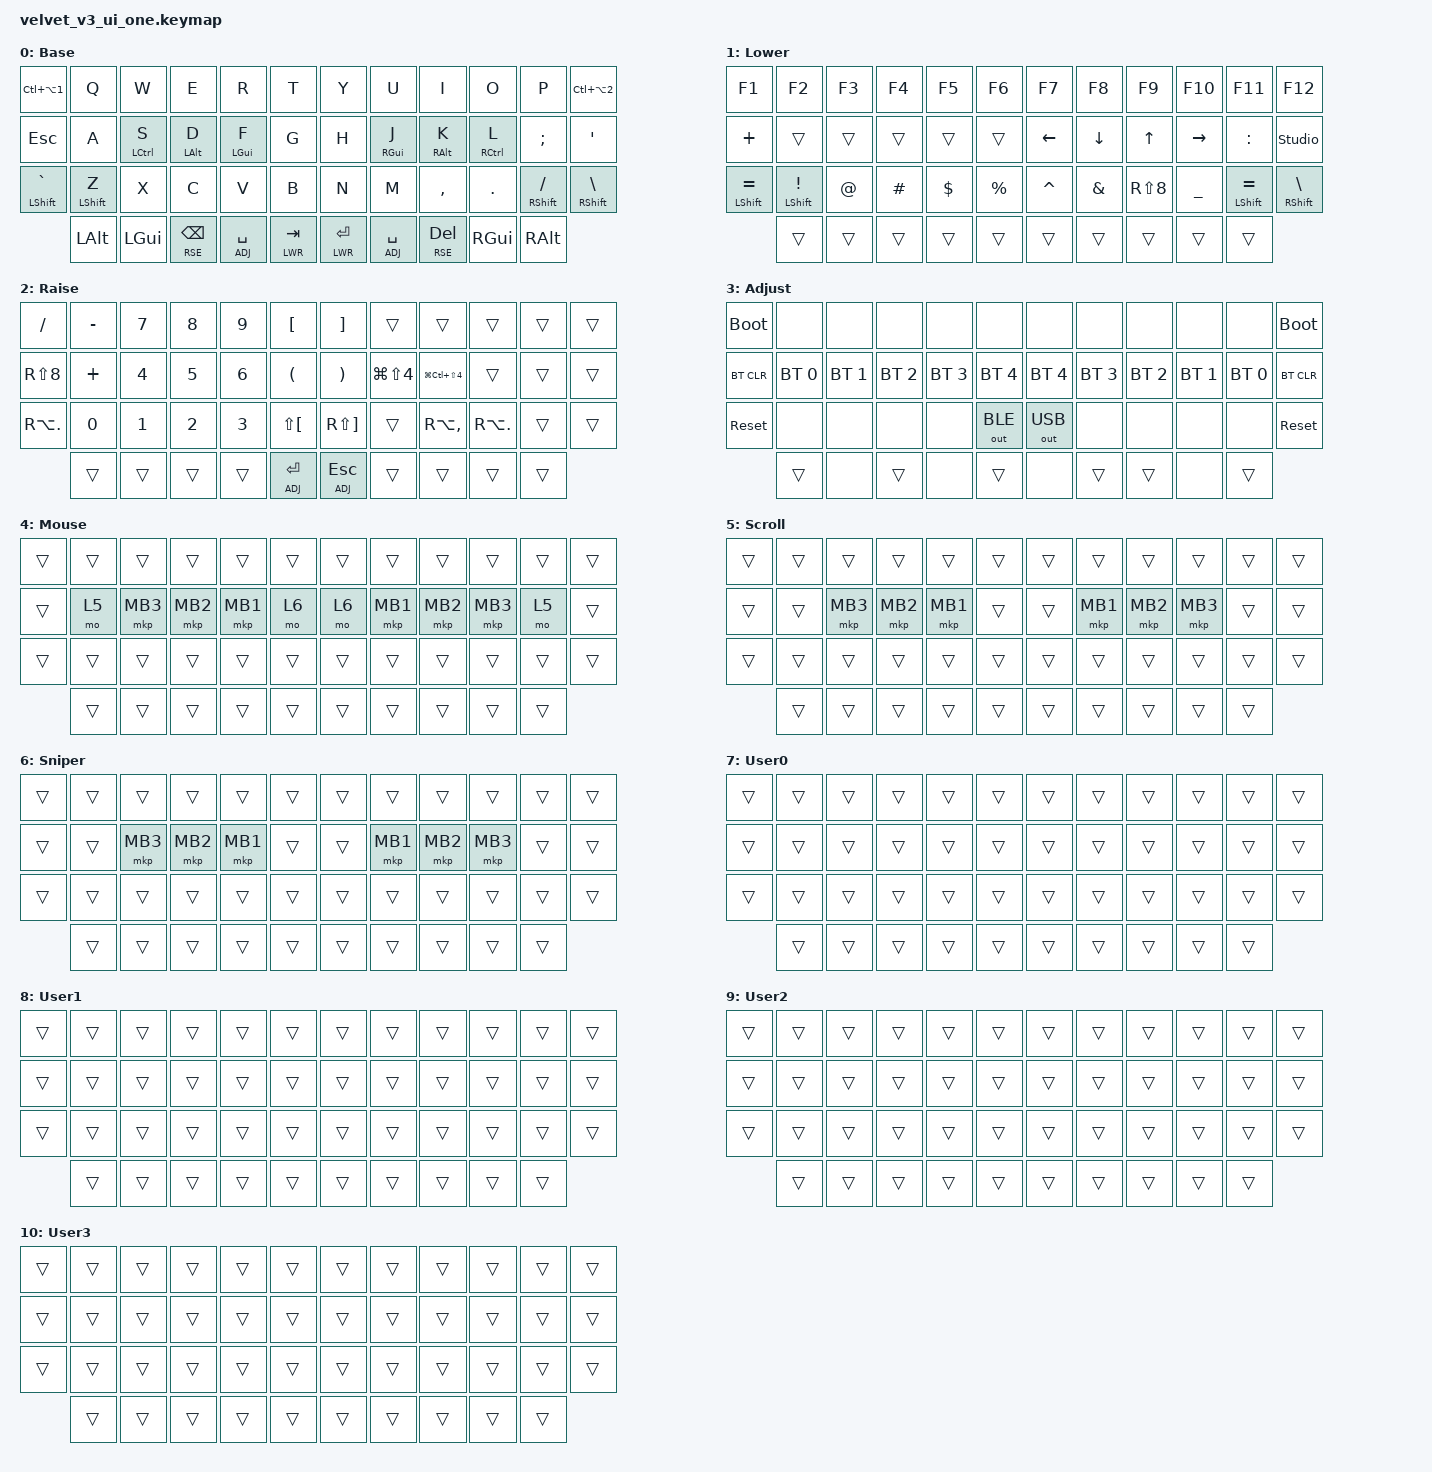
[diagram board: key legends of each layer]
#include "keys_ru.h"
#include <dt-bindings/zmk/input_transform.h>
#include <input/processors.dtsi>
#include <zephyr/dt-bindings/input/input-event-codes.h>
#include <behaviors.dtsi>
#include <dt-bindings/zmk/bt.h>
#include <dt-bindings/zmk/keys.h>
#include <dt-bindings/zmk/outputs.h>
#include <dt-bindings/zmk/pointing.h>

#define LWR 1
#define RSE 2
#define ADJ 3

&lt { quick_tap_ms = <200>; };
&mt { quick_tap_ms = <200>; };

/ {
    behaviors {
        bhm: balanced_homerow_mods {
            compatible = "zmk,behavior-hold-tap";
            label = "HOMEROW_MODS";
            #binding-cells = <2>;
            tapping-term-ms = <200>;
            quick-tap-ms = <0>;
            flavor = "balanced";
            bindings = <&kp>, <&kp>;
        };

        cap_sen: cap_sen {
            compatible = "zmk,behavior-hold-tap";
            label = "CAP_SEN";
            bindings = <&mo>, <&mkp>;

            #binding-cells = <2>;
            tapping-term-ms = <150>;
            hold-while-undecided;
        };

        mouse_layer: mouse_layer {
            compatible = "zmk,behavior-sticky-key";
            label = "MOUSE_LAYER";
            bindings = <&mo>;
            #binding-cells = <1>;
            release-after-ms = <200>;
        };

        zip_auto_mouse: zip_auto_mouse {
            compatible = "zmk,input-processor-temp-layer";
            #input-processor-cells = <2>;
            require-prior-idle-ms = <800>;
            excluded-positions = <>;
        };
    };

    conditional_layers {
        compatible = "zmk,conditional-layers";

        tri_layer {
            if-layers = <LWR RSE>;
            then-layer = <ADJ>;
        };
    };

    keymap {
        compatible = "zmk,keymap";

        base {
            bindings = <
&kp LC(LA(N1))        &kp Q             &kp W         &kp E         &kp R           &kp T                   &kp Y         &kp U            &kp I            &kp O           &kp P                &kp LC(LA(N2))
&kp ESC               &kp A             &bhm LCTRL S  &bhm LALT D   &bhm LGUI F     &kp G                   &kp H         &bhm RGUI J      &bhm RALT K      &bhm RCTRL L    &kp SEMI             &kp SQT
&bhm LSHIFT GRAVE     &bhm LSHIFT Z     &kp X         &kp C         &kp V           &kp B                   &kp N         &kp M            &kp COMMA        &kp DOT         &bhm RSHIFT FSLH     &bhm RSHFT BSLH
                       &kp LALT         &kp LGUI      &lt RSE BSPC  &lt ADJ SPACE    &lt LWR TAB   &lt LWR RET  &lt ADJ SPACE    &lt RSE DEL       &kp RGUI        &kp RALT
            >;

            display-name = "Base";
        };

        nav {
            bindings = <
&kp F1                &kp F2              &kp F3         &kp F4      &kp F5      &kp F6                  &kp F7        &kp F8      &kp F9        &kp F10       &kp F11              &kp F12
&kp PLUS              &trans              &trans         &trans      &trans      &trans                  &kp LEFT      &kp DOWN    &kp UP        &kp RIGHT     &kp COLON            &studio_unlock
&bhm LSHIFT EQUAL     &bhm LSHIFT EXCL    &kp AT         &kp HASH    &kp DLLR    &kp PRCNT               &kp CARET     &kp AMPS    &kp RS(N8)    &kp UNDER     &bhm LSHIFT EQUAL    &bhm RSHFT BSLH
                       &trans             &trans         &trans      &trans      &trans         &trans    &trans         &trans        &trans        &trans
            >;

            display-name = "Lower";
        };

        sym {
            bindings = <
&kp FSLH              &kp MINUS         &kp N7        &kp N8           &kp N9      &kp LBKT                &kp RBKT      &trans          &trans             &trans          &trans    &trans
&kp RS(N8)            &kp PLUS          &kp N4        &kp N5           &kp N6      &kp LPAR                &kp RPAR      &kp LG(LS(N4))  &kp LG(LC(LS(N4))) &trans          &trans    &trans
&kp RA(DOT)           &kp N0            &kp N1        &kp N2           &kp N3      &kp LS(LBKT)            &kp RS(RBKT)  &trans          &kp RA(COMMA)      &kp RA(DOT)     &trans    &trans
                       &trans           &trans        &trans           &trans      &lt ADJ RET     &lt ADJ ESC  &trans          &trans             &trans          &trans
            >;

            display-name = "Raise";
        };

        adj {
            bindings = <
&bootloader           &none            &none         &none         &none          &none                   &none         &none         &none         &none         &none              &bootloader
&bt BT_CLR            &bt BT_SEL 0     &bt BT_SEL 1  &bt BT_SEL 2  &bt BT_SEL 3   &bt BT_SEL 4            &bt BT_SEL 4  &bt BT_SEL 3  &bt BT_SEL 2  &bt BT_SEL 1  &bt BT_SEL 0       &bt BT_CLR
&sys_reset            &none            &none         &none         &none          &out OUT_BLE            &out OUT_USB  &none         &none         &none         &none              &sys_reset
                       &trans          &none         &trans        &none          &trans         &none     &trans         &trans        &none         &trans
            >;

            display-name = "Adjust";
        };

        mouse {
            bindings = <
&trans  &trans  &trans    &trans    &trans    &trans                    &trans  &trans    &trans    &trans    &trans  &trans
&trans  &mo 5   &mkp MB3  &mkp MB2  &mkp MB1  &mo 6                     &mo 6   &mkp MB1  &mkp MB2  &mkp MB3  &mo 5   &trans
&trans  &trans  &trans    &trans    &trans    &trans                    &trans  &trans    &trans    &trans    &trans  &trans
                &trans    &trans    &trans    &trans  &trans    &trans  &trans  &trans    &trans    &trans
            >;

            display-name = "Mouse";
        };

        scroll {
            bindings = <
&trans  &trans  &trans    &trans    &trans    &trans                    &trans  &trans    &trans    &trans    &trans  &trans
&trans  &trans  &mkp MB3  &mkp MB2  &mkp MB1  &trans                    &trans  &mkp MB1  &mkp MB2  &mkp MB3  &trans  &trans
&trans  &trans  &trans    &trans    &trans    &trans                    &trans  &trans    &trans    &trans    &trans  &trans
                &trans    &trans    &trans    &trans  &trans    &trans  &trans  &trans    &trans    &trans
            >;

            display-name = "Scroll";
        };

        sniper {
            bindings = <
&trans  &trans  &trans    &trans    &trans    &trans                    &trans  &trans    &trans    &trans    &trans  &trans
&trans  &trans  &mkp MB3  &mkp MB2  &mkp MB1  &trans                    &trans  &mkp MB1  &mkp MB2  &mkp MB3  &trans  &trans
&trans  &trans  &trans    &trans    &trans    &trans                    &trans  &trans    &trans    &trans    &trans  &trans
                &trans    &trans    &trans    &trans  &trans    &trans  &trans  &trans    &trans    &trans
            >;

            display-name = "Sniper";
        };

        User0 {
            bindings = <
&trans  &trans  &trans  &trans  &trans  &trans                    &trans  &trans  &trans  &trans  &trans  &trans
&trans  &trans  &trans  &trans  &trans  &trans                    &trans  &trans  &trans  &trans  &trans  &trans
&trans  &trans  &trans  &trans  &trans  &trans                    &trans  &trans  &trans  &trans  &trans  &trans
                &trans  &trans  &trans  &trans  &trans    &trans  &trans  &trans  &trans  &trans
            >;

            display-name = "User0";
        };

        User1 {
            bindings = <
&trans  &trans  &trans  &trans  &trans  &trans                    &trans  &trans  &trans  &trans  &trans  &trans
&trans  &trans  &trans  &trans  &trans  &trans                    &trans  &trans  &trans  &trans  &trans  &trans
&trans  &trans  &trans  &trans  &trans  &trans                    &trans  &trans  &trans  &trans  &trans  &trans
                &trans  &trans  &trans  &trans  &trans    &trans  &trans  &trans  &trans  &trans
            >;

            display-name = "User1";
        };

        User2 {
            bindings = <
&trans  &trans  &trans  &trans  &trans  &trans                    &trans  &trans  &trans  &trans  &trans  &trans
&trans  &trans  &trans  &trans  &trans  &trans                    &trans  &trans  &trans  &trans  &trans  &trans
&trans  &trans  &trans  &trans  &trans  &trans                    &trans  &trans  &trans  &trans  &trans  &trans
                &trans  &trans  &trans  &trans  &trans    &trans  &trans  &trans  &trans  &trans
            >;

            display-name = "User2";
        };

        User3 {
            bindings = <
&trans  &trans  &trans  &trans  &trans  &trans                    &trans  &trans  &trans  &trans  &trans  &trans
&trans  &trans  &trans  &trans  &trans  &trans                    &trans  &trans  &trans  &trans  &trans  &trans
&trans  &trans  &trans  &trans  &trans  &trans                    &trans  &trans  &trans  &trans  &trans  &trans
                &trans  &trans  &trans  &trans  &trans    &trans  &trans  &trans  &trans  &trans
            >;

            display-name = "User3";
        };
    };
};

&trackball { cpi = <1000>; };

&trackball_listener {
    input-processors = <&zip_auto_mouse 4 500>, <&zip_xy_scaler 9 20>;

    scroller {
        layers = <5>;
        input-processors =
            <&zip_xy_transform INPUT_TRANSFORM_Y_INVERT>,
            <&zip_xy_scaler 1 64>,
            <&zip_xy_to_scroll_mapper>;
    };

    sniper {
        layers = <6>;
        input-processors = <&zip_xy_scaler 1 4>;
    };
};
